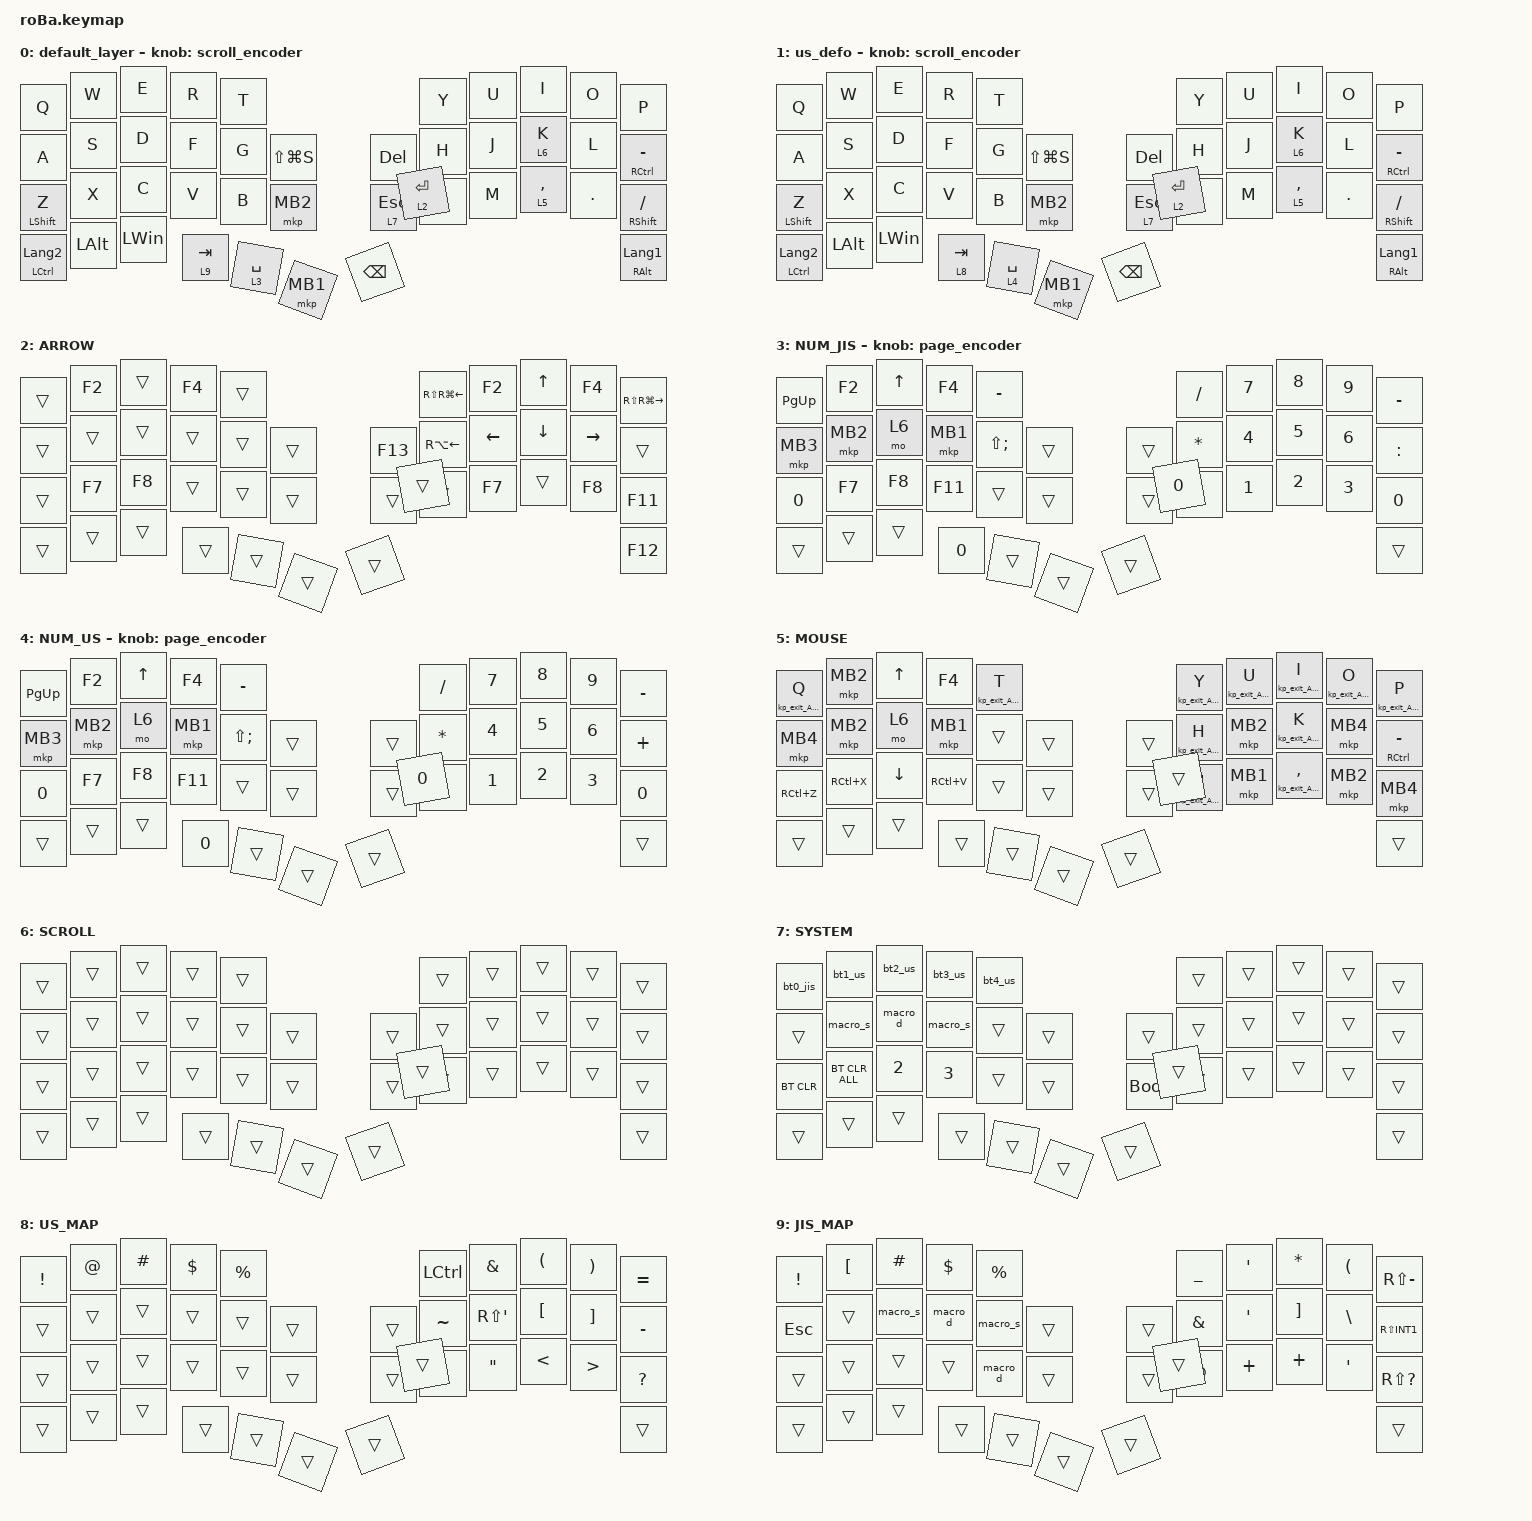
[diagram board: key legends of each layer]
#include <behaviors.dtsi>
#include <dt-bindings/zmk/bt.h>
#include <dt-bindings/zmk/keys.h>
#include <dt-bindings/zmk/pointing.h>

/* Qiita記事で紹介されていたスクロール量調整の定義 */
#define ZMK_POINTING_DEFAULT_SCRL_VAL 100

/* --- レイヤー番号の定義（優先度順） --- */
#define DEF   0
#define US_D  1
#define NUM   2
#define FUNC  3
#define ARR   4
#define MOU   5
#define SCR   6
#define SYS   7
#define US_M  8
#define JIS_M 9

&mt {
    flavor = "balanced";
    quick-tap-ms = <0>;
};

&trackball {
    scroll-layers = <SCR>;
    automouse-layer = <MOU>;
};

/ {
    combos {
        compatible = "zmk,combos";

        combo_esc {
            bindings = <&kp ESCAPE>;
            key-positions = <0 1>;
        };

        combo_click {
            bindings = <&mkp MB1>;
            key-positions = <13 14>;
        };

        combo_minus {
            bindings = <&kp MINUS>;
            key-positions = <31 32>;
        };

        combo_alttab {
            bindings = <&kp LA(TAB)>;
            key-positions = <11 12>;
        };

        combo_del {
            bindings = <&kp DELETE>;
            key-positions = <7 8>;
        };
    };

    macros {
        to_layer_0: to_layer_0 {
            compatible = "zmk,behavior-macro-one-param";
            #binding-cells = <1>;
            bindings = <&to 0 &macro_param_1to1 &kp MACRO_PLACEHOLDER>;
            label = "TO_LAYER_0";
        };

        exit_AML: exit_AML {
            compatible = "zmk,behavior-macro";
            #binding-cells = <0>;
            wait-ms = <0>;
            tap-ms = <0>;
            bindings = <&tog_off MOU>;
            label = "EXIT_AML";
        };

        kp_exit_AML: kp_exit_AML {
            compatible = "zmk,behavior-macro-one-param";
            #binding-cells = <1>;
            wait-ms = <0>;
            tap-ms = <0>;
            bindings = <&macro_param_1to1 &kp MACRO_PLACEHOLDER &exit_AML>;
            label = "KP_EXIT_AML";
        };

        macro_s: macro_s {
            compatible = "zmk,behavior-macro";
            #binding-cells = <0>;
            wait-ms = <30>;
            tap-ms = <30>;
            bindings = <&kp H &kp O &kp N &kp N &kp A &kp D &kp A &kp I>;
            label = "MACRO_S";
        };

        macro_d: macro_d {
            compatible = "zmk,behavior-macro";
            #binding-cells = <0>;
            wait-ms = <30>;
            tap-ms = <30>;
            bindings = <&kp LS(A) &kp N2 &kp N9 &kp N5 &kp X &kp P>;
            label = "MACRO_D";
        };

        bt0_jis: bt0_jis {
            compatible = "zmk,behavior-macro";
            #binding-cells = <0>;
            wait-ms = <10>;
            tap-ms = <10>;
            bindings = <&bt BT_SEL 0 &to 0>;
            label = "BT0_JIS";
        };

        bt1_us: bt1_us {
            compatible = "zmk,behavior-macro";
            #binding-cells = <0>;
            wait-ms = <10>;
            tap-ms = <10>;
            bindings = <&bt BT_SEL 1 &to 1>;
            label = "BT1_US";
        };

        bt2_us: bt2_us {
            compatible = "zmk,behavior-macro";
            #binding-cells = <0>;
            wait-ms = <10>;
            tap-ms = <10>;
            bindings = <&bt BT_SEL 2 &to 1>;
            label = "BT2_US";
        };

        bt3_us: bt3_us {
            compatible = "zmk,behavior-macro";
            #binding-cells = <0>;
            wait-ms = <10>;
            tap-ms = <10>;
            bindings = <&bt BT_SEL 3 &to 1>;
            label = "BT3_US";
        };

        bt4_us: bt4_us {
            compatible = "zmk,behavior-macro";
            #binding-cells = <0>;
            wait-ms = <10>;
            tap-ms = <10>;
            bindings = <&bt BT_SEL 4 &to 1>;
            label = "BT4_US";
        };
    };

    behaviors {
        lt_to_layer_0: lt_to_layer_0 {
            compatible = "zmk,behavior-hold-tap";
            label = "LAYER_TAP_TO_0";
            bindings = <&mo>, <&to_layer_0>;
            #binding-cells = <2>;
            tapping-term-ms = <200>;
        };

        tog_off: toggle_layer_off {
            compatible = "zmk,behavior-toggle-layer";
            #binding-cells = <1>;
            display-name = "Toggle Layer Off";
            toggle-mode = "off";
        };

        mt_exit_AML_on_tap: mt_exit_AML_on_tap {
            compatible = "zmk,behavior-hold-tap";
            label = "MT_EXIT_AML_ON_TAP";
            bindings = <&kp>, <&kp_exit_AML>;
            #binding-cells = <2>;
            tapping-term-ms = <200>;
            flavor = "balanced";
            quick-tap-ms = <200>;
        };

        scroll_encoder: scroll_encoder {
            compatible = "zmk,behavior-sensor-rotate";
            #sensor-binding-cells = <0>;
            bindings = <&msc SCRL_DOWN>, <&msc SCRL_UP>;
        };

        page_encoder: page_encoder {
            compatible = "zmk,behavior-sensor-rotate";
            #sensor-binding-cells = <0>;
            bindings = <&kp LC(PAGE_DOWN)>, <&kp LC(PAGE_UP)>;
        };
    };

    keymap {
        compatible = "zmk,keymap";

        default_layer {
            bindings = <
&kp Q                        &kp W         &kp E         &kp R      &kp T                                                          &kp Y        &kp U  &kp I        &kp O    &kp P
&kp A                        &kp S         &kp D         &kp F      &kp G        &kp LS(LG(S))      &kp DELETE     &kp H        &kp J  &lt 6 K      &kp L    &mt RIGHT_CONTROL MINUS
&mt LSHIFT Z                 &kp X         &kp C         &kp V      &kp B        &mkp MB2           &lt 7 ESCAPE   &kp N        &kp M  &lt 5 COMMA  &kp DOT  &mt RIGHT_SHIFT SLASH
&mt LEFT_CONTROL LANGUAGE_2  &kp LEFT_ALT  &kp LEFT_WIN  &lt 9 TAB  &lt 3 SPACE  &mkp MB1           &kp BACKSPACE  &lt 2 ENTER                              &mt RIGHT_ALT LANGUAGE_1
            >;
            sensor-bindings = <&scroll_encoder>;
        };

        us_defo {
            bindings = <
&kp Q                        &kp W         &kp E         &kp R      &kp T                                                          &kp Y        &kp U  &kp I        &kp O    &kp P
&kp A                        &kp S         &kp D         &kp F      &kp G        &kp LS(LG(S))      &kp DELETE     &kp H        &kp J  &lt 6 K      &kp L    &mt RIGHT_CONTROL MINUS
&mt LSHIFT Z                 &kp X         &kp C         &kp V      &kp B        &mkp MB2           &lt 7 ESCAPE   &kp N        &kp M  &lt 5 COMMA  &kp DOT  &mt RIGHT_SHIFT SLASH
&mt LEFT_CONTROL LANGUAGE_2  &kp LEFT_ALT  &kp LEFT_WIN  &lt 8 TAB  &lt 4 SPACE  &mkp MB1           &kp BACKSPACE  &lt 2 ENTER                              &mt RIGHT_ALT LANGUAGE_1
            >;
            sensor-bindings = <&scroll_encoder>;
        };

        ARROW {
            bindings = <
&trans  &kp F2  &trans  &kp F4  &trans                       &kp RS(RG(LEFT))  &kp F2    &kp UP    &kp F4     &kp RS(RG(RIGHT))
&trans  &trans  &trans  &trans  &trans  &trans      &kp F13  &kp RA(LEFT)      &kp LEFT  &kp DOWN  &kp RIGHT  &trans
&trans  &kp F7  &kp F8  &trans  &trans  &trans      &trans   &trans            &kp F7    &trans    &kp F8     &kp F11
&trans  &trans  &trans  &trans  &trans  &trans      &trans   &trans                                           &kp F12
            >;
        };

        NUM_JIS {
            bindings = <
&kp PAGE_UP   &kp F2    &kp UP_ARROW  &kp F4        &kp MINUS                         &kp SLASH     &kp NUMBER_7  &kp NUMBER_8  &kp NUMBER_9  &kp MINUS
&mkp MB3      &mkp MB2  &mo 6         &mkp MB1      &kp LS(SEMI)  &trans      &trans  &kp ASTERISK  &kp NUMBER_4  &kp NUMBER_5  &kp NUMBER_6  &kp COLON
&kp NUMBER_0  &kp F7    &kp F8        &kp F11       &trans        &trans      &trans  &kp PERIOD    &kp NUMBER_1  &kp NUMBER_2  &kp NUMBER_3  &kp NUMBER_0
&trans        &trans    &trans        &kp NUMBER_0  &trans        &trans      &trans  &kp NUMBER_0                                            &trans
            >;
            sensor-bindings = <&page_encoder>;
        };

        NUM_US {
            bindings = <
&kp PAGE_UP   &kp F2    &kp UP_ARROW  &kp F4        &kp MINUS                         &kp SLASH     &kp NUMBER_7  &kp NUMBER_8  &kp NUMBER_9  &kp MINUS
&mkp MB3      &mkp MB2  &mo 6         &mkp MB1      &kp LS(SEMI)  &trans      &trans  &kp ASTERISK  &kp NUMBER_4  &kp NUMBER_5  &kp NUMBER_6  &kp PLUS
&kp NUMBER_0  &kp F7    &kp F8        &kp F11       &trans        &trans      &trans  &kp PERIOD    &kp NUMBER_1  &kp NUMBER_2  &kp NUMBER_3  &kp NUMBER_0
&trans        &trans    &trans        &kp NUMBER_0  &trans        &trans      &trans  &kp NUMBER_0                                            &trans
            >;
            sensor-bindings = <&page_encoder>;
        };

        MOUSE {
            bindings = <
&kp_exit_AML Q  &mkp MB2   &kp UP    &kp F4     &kp_exit_AML T                                 &kp_exit_AML Y  &kp_exit_AML U  &kp_exit_AML I      &kp_exit_AML O  &kp_exit_AML P
&mkp MB4        &mkp MB2   &mo 6     &mkp MB1   &trans          &trans      &trans  &kp_exit_AML H  &mkp MB2        &kp_exit_AML K  &mkp MB4        &mt RIGHT_CONTROL MINUS
&kp RC(Z)       &kp RC(X)  &kp DOWN  &kp RC(V)  &trans          &trans      &trans  &kp_exit_AML N  &mkp MB1        &kp_exit_AML COMMA  &mkp MB2    &mkp MB4
&trans          &trans     &trans    &trans     &trans          &trans      &trans  &trans                                                          &trans
            >;
        };

        SCROLL {
            bindings = <
&trans  &trans  &trans  &trans  &trans                      &trans  &trans  &trans  &trans  &trans
&trans  &trans  &trans  &trans  &trans  &trans      &trans  &trans  &trans  &trans  &trans  &trans
&trans  &trans  &trans  &trans  &trans  &trans      &trans  &trans  &trans  &trans  &trans  &trans
&trans  &trans  &trans  &trans  &trans  &trans      &trans  &trans                          &trans
            >;
        };

        SYSTEM {
            bindings = <
&bt0_jis    &bt1_us         &bt2_us   &bt3_us   &bt4_us                                  &trans  &trans  &trans  &trans  &trans
&trans      &macro_s        &macro_d  &macro_s  &trans   &trans      &trans       &trans  &trans  &trans  &trans  &trans
&bt BT_CLR  &bt BT_CLR_ALL  &kp N2    &kp N3    &trans   &trans      &bootloader  &trans  &trans  &trans  &trans  &trans
&trans      &trans          &trans    &trans    &trans   &trans      &trans       &trans                          &trans
            >;
        };

        US_MAP {
            bindings = <
&kp EXCL  &kp AT  &kp HASH  &kp DLLR  &kp PRCNT                      &kp LCTRL  &kp AMPS     &kp LPAR  &kp RPAR  &kp EQUAL
&trans    &trans  &trans    &trans    &trans     &trans      &trans  &kp TILDE  &kp RS(SQT)  &kp LBKT  &kp RBKT  &kp MINUS
&trans    &trans  &trans    &trans    &trans     &trans      &trans  &kp DQT    &kp DQT      &kp LT    &kp GT    &kp QUESTION
&trans    &trans  &trans    &trans    &trans     &trans      &trans  &trans                                      &trans
            >;
        };

        JIS_MAP {
            bindings = <
&kp EXCL  &kp LBKT  &kp HASH  &kp DLLR  &kp PRCNT                      &kp UNDERSCORE  &kp SQT   &kp STAR  &kp LPAR  &kp RS(MINUS)
&kp ESC   &trans    &macro_s  &macro_d  &macro_s   &trans      &trans  &kp AMPS        &kp SQT   &kp RBKT  &kp BSLH  &kp RS(INT1)
&trans    &trans    &trans    &trans    &macro_d   &trans      &trans  &kp AT          &kp PLUS  &kp PLUS  &kp SQT   &kp RS(QUESTION)
&trans    &trans    &trans    &trans    &trans     &trans      &trans  &trans                                        &trans
            >;
        };
    };
};
